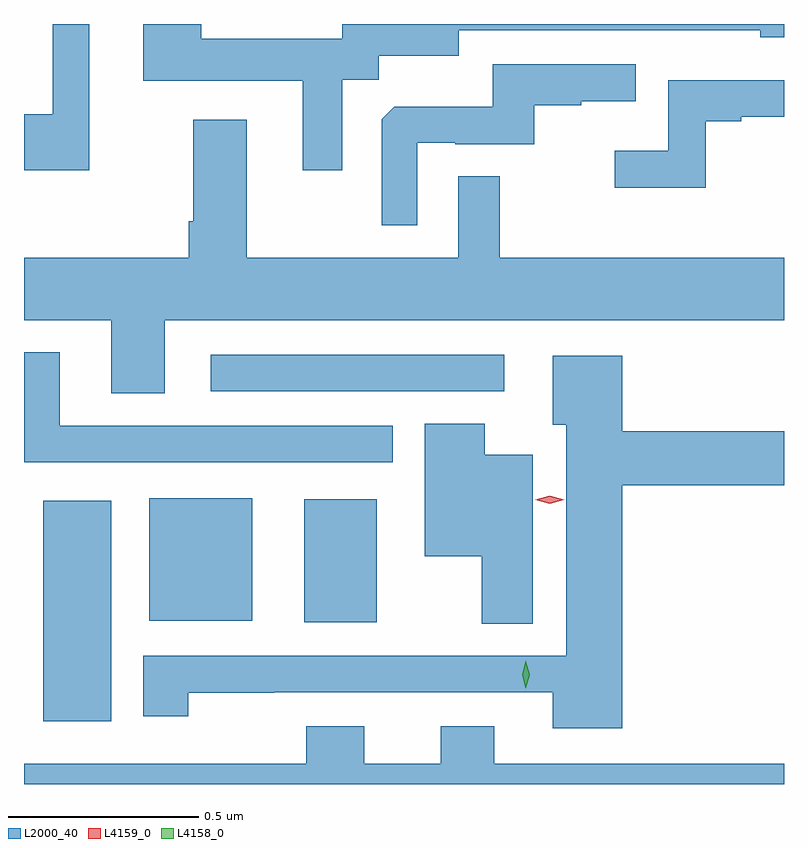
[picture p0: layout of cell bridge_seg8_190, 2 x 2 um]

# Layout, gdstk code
import gdstk
lib = gdstk.Library(unit=1e-6, precision=1e-09)
def R(c, l, rs):  # rectangles x0, y0, x1, y1
    for r in rs: c.add(gdstk.rectangle(r[:2], r[2:], *l))
def P(c, l, *ps):  # polygons
    for p in ps: c.add(gdstk.Polygon(p, *l))
L2000_40 = (2000, 40)
L4158_0 = (4158, 0)
L4159_0 = (4159, 0)

bridge_seg8_190 = lib.new_cell('bridge_seg8_190')
R(bridge_seg8_190, L2000_40, [(267.647,1082.144,267.826,1082.725), (268.334,1082.405,268.525,1082.728), (267.926,1082.408,268.198,1082.731), (268.089,1083.012,268.861,1083.108)])
P(bridge_seg8_190, L2000_40, [(267.769,1083.979),(267.672,1083.979),(267.672,1083.742),(267.597,1083.742),(267.597,1083.594),(267.769,1083.594)],
  [(268.435,1083.832),(268.53,1083.832),(268.53,1083.896),(268.741,1083.896),(268.741,1083.963),(269.299,1083.963),(269.299,1083.962),(269.535,1083.962),(269.535,1083.944),(269.597,1083.944),(269.597,1083.979),(268.434,1083.979),(268.434,1083.94),(268.063,1083.94),(268.063,1083.979),(267.911,1083.979),(267.911,1083.83),(268.331,1083.83),(268.331,1083.594),(268.435,1083.594)],
  [(268.632,1083.666),(268.732,1083.666),(268.732,1083.663),(268.94,1083.663),(268.94,1083.765),(269.063,1083.765),(269.063,1083.776),(269.207,1083.776),(269.207,1083.873),(268.83,1083.873),(268.83,1083.761),(268.571,1083.761),(268.539,1083.729),(268.539,1083.449),(268.632,1083.449)],
  [(269.391,1083.723),(269.485,1083.723),(269.485,1083.735),(269.597,1083.735),(269.597,1083.831),(269.292,1083.831),(269.292,1083.646),(269.151,1083.646),(269.151,1083.548),(269.391,1083.548)],
  [(267.967,1083.2),(269.597,1083.2),(269.597,1083.364),(268.849,1083.364),(268.849,1083.578),(268.74,1083.578),(268.74,1083.364),(268.183,1083.364),(268.183,1083.727),(268.043,1083.727),(268.043,1083.46),(268.031,1083.46),(268.031,1083.364),(267.597,1083.364),(267.597,1083.2),(267.827,1083.2),(267.827,1083.007),(267.967,1083.007)],
  [(268.567,1082.922),(267.691,1082.922),(267.691,1083.115),(267.597,1083.115),(267.597,1082.826),(268.567,1082.826)],
  [(269.171,1082.765),(269.597,1082.765),(269.597,1082.907),(269.171,1082.907),(269.171,1083.106),(268.988,1083.106),(268.988,1082.924),(269.024,1082.924),(269.024,1082.316),(267.911,1082.316),(267.911,1082.157),(268.029,1082.157),(268.029,1082.219),(268.256,1082.219),(268.256,1082.22),(268.988,1082.22),(268.988,1082.126),(269.171,1082.126)],
  [(268.936,1082.845),(268.81,1082.845),(268.81,1082.927),(268.652,1082.927),(268.652,1082.579),(268.802,1082.579),(268.802,1082.401),(268.936,1082.401)],
  [(269.597,1082.032),(268.834,1082.032),(268.834,1082.131),(268.694,1082.131),(268.694,1082.032),(268.492,1082.032),(268.492,1082.131),(268.34,1082.131),(268.34,1082.032),(267.597,1082.032),(267.597,1081.979),(269.597,1081.979)])
P(bridge_seg8_190, L4158_0, [(268.917,1082.231),(268.917,1082.231),(268.908,1082.267),(268.918,1082.302),(268.918,1082.303),(268.918,1082.302),(268.928,1082.266),(268.917,1082.231)])
P(bridge_seg8_190, L4159_0, [(268.98,1082.717),(268.942,1082.727),(268.942,1082.727),(268.942,1082.727),(268.98,1082.737),(269.019,1082.727),(269.019,1082.727),(269.019,1082.727)])

lib.write_gds('bridge_seg8_190.gds')
